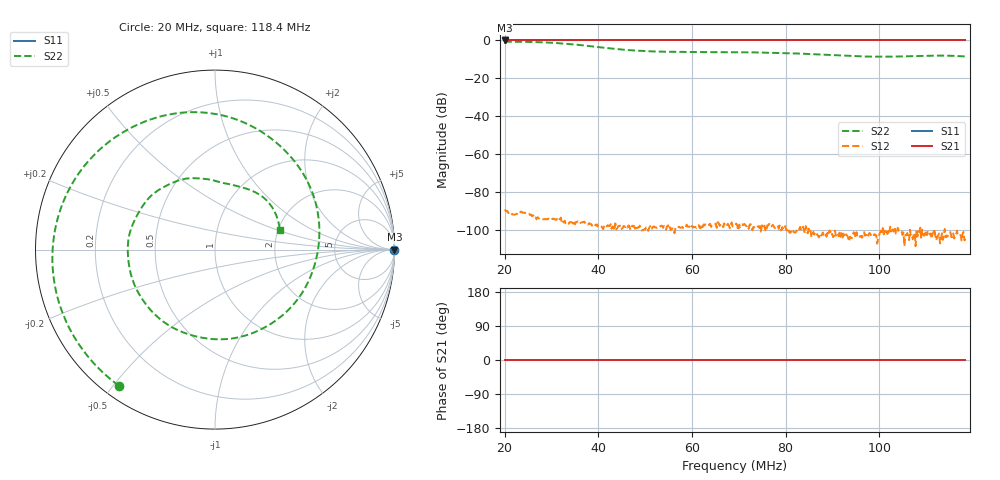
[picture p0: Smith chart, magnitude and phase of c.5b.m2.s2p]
! Anritsu VNA Master:  Model: MS2036C/10/77
! SN:  1601066
! /bd0/18may10/255.ns.m2.s2p
! Existing Calibration Information:
! TYPE:  Current Settings,  Active Cal Settings
! TIME:  05/10/2018 02:20:19 PM,  05/10/2018 02:13:17 PM
! INTERNAL TEMP:  58.5 C,  57.5 C
! # POINTS:  492,  492
! START FREQ:  20.000 MHz,  20.000 MHz
! STOP FREQ:  118.396 793 MHz,  118.396 793 MHz
! SOURCE POWER:  High,  High
! IFBW:  50 Hz,  50 Hz
! AVG FACTOR:  1 ,  1
! REF PLANE 1:  0 mm,  0 mm
! REF PLANE 2:  0 mm,  0 mm
! CAL TYPE:  Full S22,  Full S22
! CAL METHOD:  SOLT,  SOLT
! CAL LINE TYPE:  Coax,  Coax
! DUT PORT 1:  K-Conn(M),  K-Conn(M)
! DUT PORT 2:  K-Conn(M),  K-Conn(M)
! CAL STATUS:  OK: Accuracy High,  --
# GHZ S DB R 50.0
! FREQ.GHZ  S11DB  S11A  S21DB  S21A  S12DB  S12A  S22DB  S22A
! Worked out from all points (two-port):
!   492 points, 20 MHz to 118.4 MHz, reference 50 ohm
!   highest |S21| = 0.00 dB at 20 MHz (marker M1); lowest = 0.0 dB at 20 MHz (marker M2)
!   |S21| within 3 dB of the highest: start of sweep to end of sweep
!   lowest |S11| = 0.0 dB at 20 MHz (marker M3)
!   |S11| at or under -10 dB: nowhere
!   |S22| runs from -8.6 to -0.6 dB; largest |S21 - S12| = 1
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0.02  0.00 0.0  0.00 0.0  -89.39 34.9  -0.65 -125.3
0.02440882  0.00 0.0  0.00 0.0  -91.18 28.7  -0.74 -159.4
0.02621243  0.00 0.0  0.00 0.0  -92.83 24.7  -0.82 -174.5
0.02801603  0.00 0.0  0.00 0.0  -94.59 24.2  -0.97 169.5
0.03022044  0.00 0.0  0.00 0.0  -94.41 30.7  -1.24 149.2
0.03262525  0.00 0.0  0.00 0.0  -96.29 16.7  -1.65 125.9
0.03462926  0.00 0.0  0.00 0.0  -96.76 21.2  -2.06 105.6
0.03643287  0.00 0.0  0.00 0.0  -96.21 25.7  -2.50 87.2
0.04004008  0.00 0.0  0.00 0.0  -97.15 27.7  -3.55 49.5
0.04344689  0.00 0.0  0.00 0.0  -100.33 26.2  -4.43 15.4
0.0456513  0.00 0.0  0.00 0.0  -98.41 36.7  -4.96 -6.2
0.04825651  0.00 0.0  0.00 0.0  -99.25 22.0  -5.38 -30.3
0.05286573  0.00 0.0  0.00 0.0  -98.71 31.1  -5.87 -68.9
0.05667335  0.00 0.0  0.00 0.0  -98.66 37.1  -6.08 -96.8
0.06128256  0.00 0.0  0.00 0.0  -97.79 32.7  -6.13 -126.8
0.06529058  0.00 0.0  0.00 0.0  -98.98 19.1  -6.19 -150.2
0.0692986  0.00 0.0  0.00 0.0  -97.15 17.4  -6.26 -171.4
0.07851703  0.00 0.0  0.00 0.0  -99.48 11.7  -6.57 145.9
0.08573146  0.00 0.0  0.00 0.0  -102.86 -4.9  -7.22 117.8
0.1021643  0.00 0.0  0.00 0.0  -101.15 18.1  -8.56 75.1
0.1115832  0.00 0.0  0.00 0.0  -101.49 15.9  -8.04 47.8
0.1183968  0.00 0.0  0.00 0.0  -104.83 -12.4  -8.49 16.8
